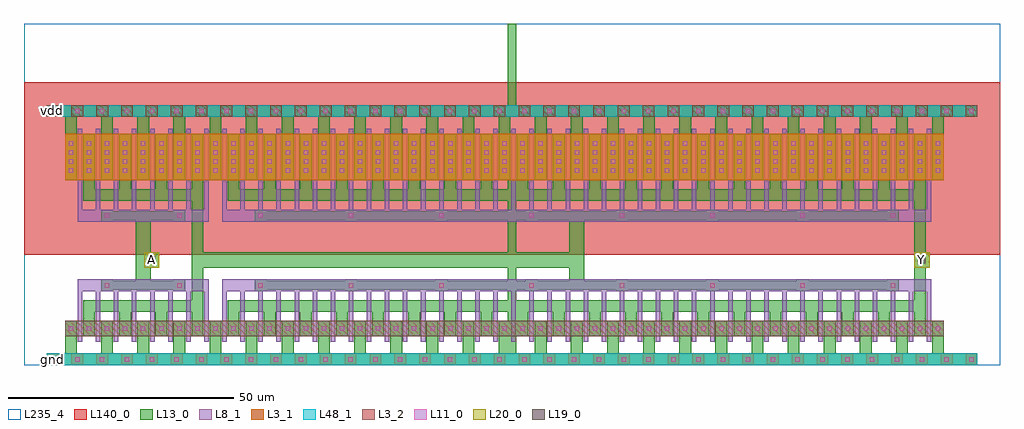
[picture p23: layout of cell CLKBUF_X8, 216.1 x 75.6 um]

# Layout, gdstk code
import gdstk
lib = gdstk.Library(unit=1e-6, precision=1e-09)
def R(c, l, rs):  # rectangles x0, y0, x1, y1
    for r in rs: c.add(gdstk.rectangle(r[:2], r[2:], *l))
def A(c, l, x, y, w, h, nx, ny, dx, dy):  # array of equal rectangles
    R(c, l, [(x+i*dx, y+j*dy, x+i*dx+w, y+j*dy+h) for i in range(nx) for j in range(ny)])
def P(c, l, *ps):  # polygons
    for p in ps: c.add(gdstk.Polygon(p, *l))
L3_1 = (3, 1)
L3_2 = (3, 2)
L8_1 = (8, 1)
L11_0 = (11, 0)
L13_0 = (13, 0)
L19_0 = (19, 0)
L20_0 = (20, 0)
L48_1 = (48, 1)
L140_0 = (140, 0)
L235_4 = (235, 4)

clkbuf_x8 = lib.new_cell('CLKBUF_X8')
A(clkbuf_x8, L3_1, 5, 0, 2.6, 2.6, 38, 1, 5.5, 0)
R(clkbuf_x8, L3_1, [(9.1,41,203.7,51.2)])
A(clkbuf_x8, L3_2, 5, 55, 2.6, 2.6, 38, 1, 5.5, 0)
R(clkbuf_x8, L3_2, [(9.1,6.4,203.7,9.8)])
P(clkbuf_x8, L8_1, [(11.9,5.2),(11.9,19),(40.9,19),(40.9,5.2),(39.9,5.2),(39.9,16.4),(36.9,16.4),(36.9,5.2),(35.9,5.2),(35.9,16.4),(32.9,16.4),(32.9,5.2),(31.9,5.2),(31.9,16.4),(28.9,16.4),(28.9,5.2),(27.9,5.2),(27.9,16.4),(24.9,16.4),(24.9,5.2),(23.9,5.2),(23.9,16.4),(20.9,16.4),(20.9,5.2),(19.9,5.2),(19.9,16.4),(16.9,16.4),(16.9,5.2),(15.9,5.2),(15.9,16.4),(12.9,16.4),(12.9,5.2)],
  [(43.9,5.2),(43.9,19),(200.9,19),(200.9,5.2),(199.9,5.2),(199.9,16.4),(196.9,16.4),(196.9,5.2),(195.9,5.2),(195.9,16.4),(192.9,16.4),(192.9,5.2),(191.9,5.2),(191.9,16.4),(188.9,16.4),(188.9,5.2),(187.9,5.2),(187.9,16.4),(184.9,16.4),(184.9,5.2),(183.9,5.2),(183.9,16.4),(180.9,16.4),(180.9,5.2),(179.9,5.2),(179.9,16.4),(176.9,16.4),(176.9,5.2),(175.9,5.2),(175.9,16.4),(172.9,16.4),(172.9,5.2),(171.9,5.2),(171.9,16.4),(168.9,16.4),(168.9,5.2),(167.9,5.2),(167.9,16.4),(164.9,16.4),(164.9,5.2),(163.9,5.2),(163.9,16.4),(160.9,16.4),(160.9,5.2),(159.9,5.2),(159.9,16.4),(156.9,16.4),(156.9,5.2),(155.9,5.2),(155.9,16.4),(152.9,16.4),(152.9,5.2),(151.9,5.2),(151.9,16.4),(148.9,16.4),(148.9,5.2),(147.9,5.2),(147.9,16.4),(144.9,16.4),(144.9,5.2),(143.9,5.2),(143.9,16.4),(140.9,16.4),(140.9,5.2),(139.9,5.2),(139.9,16.4),(136.9,16.4),(136.9,5.2),(135.9,5.2),(135.9,16.4),(132.9,16.4),(132.9,5.2),(131.9,5.2),(131.9,16.4),(128.9,16.4),(128.9,5.2),(127.9,5.2),(127.9,16.4),(124.9,16.4),(124.9,5.2),(123.9,5.2),(123.9,16.4),(120.9,16.4),(120.9,5.2),(119.9,5.2),(119.9,16.4),(116.9,16.4),(116.9,5.2),(115.9,5.2),(115.9,16.4),(112.9,16.4),(112.9,5.2),(111.9,5.2),(111.9,16.4),(108.9,16.4),(108.9,5.2),(107.9,5.2),(107.9,16.4),(104.9,16.4),(104.9,5.2),(103.9,5.2),(103.9,16.4),(100.9,16.4),(100.9,5.2),(99.9,5.2),(99.9,16.4),(96.9,16.4),(96.9,5.2),(95.9,5.2),(95.9,16.4),(92.9,16.4),(92.9,5.2),(91.9,5.2),(91.9,16.4),(88.9,16.4),(88.9,5.2),(87.9,5.2),(87.9,16.4),(84.9,16.4),(84.9,5.2),(83.9,5.2),(83.9,16.4),(80.9,16.4),(80.9,5.2),(79.9,5.2),(79.9,16.4),(76.9,16.4),(76.9,5.2),(75.9,5.2),(75.9,16.4),(72.9,16.4),(72.9,5.2),(71.9,5.2),(71.9,16.4),(68.9,16.4),(68.9,5.2),(67.9,5.2),(67.9,16.4),(64.9,16.4),(64.9,5.2),(63.9,5.2),(63.9,16.4),(60.9,16.4),(60.9,5.2),(59.9,5.2),(59.9,16.4),(56.9,16.4),(56.9,5.2),(55.9,5.2),(55.9,16.4),(52.9,16.4),(52.9,5.2),(51.9,5.2),(51.9,16.4),(48.9,16.4),(48.9,5.2),(47.9,5.2),(47.9,16.4),(44.9,16.4),(44.9,5.2)],
  [(11.9,31.8),(11.9,52.4),(12.9,52.4),(12.9,34.4),(15.9,34.4),(15.9,52.4),(16.9,52.4),(16.9,34.4),(19.9,34.4),(19.9,52.4),(20.9,52.4),(20.9,34.4),(23.9,34.4),(23.9,52.4),(24.9,52.4),(24.9,34.4),(27.9,34.4),(27.9,52.4),(28.9,52.4),(28.9,34.4),(31.9,34.4),(31.9,52.4),(32.9,52.4),(32.9,34.4),(35.9,34.4),(35.9,52.4),(36.9,52.4),(36.9,34.4),(39.9,34.4),(39.9,52.4),(40.9,52.4),(40.9,31.8)],
  [(43.9,31.8),(43.9,52.4),(44.9,52.4),(44.9,34.4),(47.9,34.4),(47.9,52.4),(48.9,52.4),(48.9,34.4),(51.9,34.4),(51.9,52.4),(52.9,52.4),(52.9,34.4),(55.9,34.4),(55.9,52.4),(56.9,52.4),(56.9,34.4),(59.9,34.4),(59.9,52.4),(60.9,52.4),(60.9,34.4),(63.9,34.4),(63.9,52.4),(64.9,52.4),(64.9,34.4),(67.9,34.4),(67.9,52.4),(68.9,52.4),(68.9,34.4),(71.9,34.4),(71.9,52.4),(72.9,52.4),(72.9,34.4),(75.9,34.4),(75.9,52.4),(76.9,52.4),(76.9,34.4),(79.9,34.4),(79.9,52.4),(80.9,52.4),(80.9,34.4),(83.9,34.4),(83.9,52.4),(84.9,52.4),(84.9,34.4),(87.9,34.4),(87.9,52.4),(88.9,52.4),(88.9,34.4),(91.9,34.4),(91.9,52.4),(92.9,52.4),(92.9,34.4),(95.9,34.4),(95.9,52.4),(96.9,52.4),(96.9,34.4),(99.9,34.4),(99.9,52.4),(100.9,52.4),(100.9,34.4),(103.9,34.4),(103.9,52.4),(104.9,52.4),(104.9,34.4),(107.9,34.4),(107.9,52.4),(108.9,52.4),(108.9,34.4),(111.9,34.4),(111.9,52.4),(112.9,52.4),(112.9,34.4),(115.9,34.4),(115.9,52.4),(116.9,52.4),(116.9,34.4),(119.9,34.4),(119.9,52.4),(120.9,52.4),(120.9,34.4),(123.9,34.4),(123.9,52.4),(124.9,52.4),(124.9,34.4),(127.9,34.4),(127.9,52.4),(128.9,52.4),(128.9,34.4),(131.9,34.4),(131.9,52.4),(132.9,52.4),(132.9,34.4),(135.9,34.4),(135.9,52.4),(136.9,52.4),(136.9,34.4),(139.9,34.4),(139.9,52.4),(140.9,52.4),(140.9,34.4),(143.9,34.4),(143.9,52.4),(144.9,52.4),(144.9,34.4),(147.9,34.4),(147.9,52.4),(148.9,52.4),(148.9,34.4),(151.9,34.4),(151.9,52.4),(152.9,52.4),(152.9,34.4),(155.9,34.4),(155.9,52.4),(156.9,52.4),(156.9,34.4),(159.9,34.4),(159.9,52.4),(160.9,52.4),(160.9,34.4),(163.9,34.4),(163.9,52.4),(164.9,52.4),(164.9,34.4),(167.9,34.4),(167.9,52.4),(168.9,52.4),(168.9,34.4),(171.9,34.4),(171.9,52.4),(172.9,52.4),(172.9,34.4),(175.9,34.4),(175.9,52.4),(176.9,52.4),(176.9,34.4),(179.9,34.4),(179.9,52.4),(180.9,52.4),(180.9,34.4),(183.9,34.4),(183.9,52.4),(184.9,52.4),(184.9,34.4),(187.9,34.4),(187.9,52.4),(188.9,52.4),(188.9,34.4),(191.9,34.4),(191.9,52.4),(192.9,52.4),(192.9,34.4),(195.9,34.4),(195.9,52.4),(196.9,52.4),(196.9,34.4),(199.9,34.4),(199.9,52.4),(200.9,52.4),(200.9,31.8)])
A(clkbuf_x8, L11_0, 5.8, 0.8, 1, 1, 38, 2, 5.5, 55)
A(clkbuf_x8, L11_0, 9.9, 7.6, 1, 1, 9, 2, 4, 35)
A(clkbuf_x8, L11_0, 41.9, 7.6, 1, 1, 41, 2, 4, 35)
A(clkbuf_x8, L11_0, 51.9, 17.2, 1, 1, 8, 2, 20, 15.4)
A(clkbuf_x8, L11_0, 9.9, 44.6, 1, 1, 9, 3, 4, 2)
A(clkbuf_x8, L11_0, 41.9, 44.6, 1, 1, 41, 3, 4, 2)
R(clkbuf_x8, L11_0, [(17.9,17.2,18.9,18.2), (33.9,17.2,34.9,18.2), (17.9,32.6,18.9,33.6), (33.9,32.6,34.9,33.6)])
P(clkbuf_x8, L13_0, [(17.1,16.4),(17.1,19),(19.7,19),(19.7,18.7),(24.7,18.7),(24.7,32.1),(19.7,32.1),(19.7,31.8),(17.1,31.8),(17.1,34.4),(19.7,34.4),(19.7,34.1),(33.1,34.1),(33.1,34.4),(35.7,34.4),(35.7,31.8),(33.1,31.8),(33.1,32.1),(28.1,32.1),(28.1,25),(30,25),(30,21.6),(28.1,21.6),(28.1,18.7),(33.1,18.7),(33.1,19),(35.7,19),(35.7,16.4),(33.1,16.4),(33.1,16.7),(19.7,16.7),(19.7,16.4)],
  [(5,0),(5,2.6),(9.1,2.6),(9.1,9.8),(11.7,9.8),(11.7,2.6),(17.1,2.6),(17.1,9.8),(19.7,9.8),(19.7,2.6),(25.1,2.6),(25.1,9.8),(27.7,9.8),(27.7,2.6),(33.1,2.6),(33.1,9.8),(35.7,9.8),(35.7,2.6),(41.1,2.6),(41.1,9.8),(43.7,9.8),(43.7,2.6),(49.1,2.6),(49.1,9.8),(51.7,9.8),(51.7,2.6),(57.1,2.6),(57.1,9.8),(59.7,9.8),(59.7,2.6),(65.1,2.6),(65.1,9.8),(67.7,9.8),(67.7,2.6),(73.1,2.6),(73.1,9.8),(75.7,9.8),(75.7,2.6),(81.1,2.6),(81.1,9.8),(83.7,9.8),(83.7,2.6),(89.1,2.6),(89.1,9.8),(91.7,9.8),(91.7,2.6),(97.1,2.6),(97.1,9.8),(99.7,9.8),(99.7,2.6),(105.1,2.6),(105.1,9.8),(107.15,9.8),(107.15,11.8),(103.7,11.8),(103.7,6.4),(101.1,6.4),(101.1,11.8),(95.7,11.8),(95.7,6.4),(93.1,6.4),(93.1,11.8),(87.7,11.8),(87.7,6.4),(85.1,6.4),(85.1,11.8),(79.7,11.8),(79.7,6.4),(77.1,6.4),(77.1,11.8),(71.7,11.8),(71.7,6.4),(69.1,6.4),(69.1,11.8),(63.7,11.8),(63.7,6.4),(61.1,6.4),(61.1,11.8),(55.7,11.8),(55.7,6.4),(53.1,6.4),(53.1,11.8),(47.7,11.8),(47.7,6.4),(45.1,6.4),(45.1,14.4),(107.15,14.4),(107.15,16.7),(93.7,16.7),(93.7,16.4),(91.1,16.4),(91.1,16.7),(73.7,16.7),(73.7,16.4),(71.1,16.4),(71.1,16.7),(53.7,16.7),(53.7,16.4),(51.1,16.4),(51.1,19),(53.7,19),(53.7,18.7),(71.1,18.7),(71.1,19),(73.7,19),(73.7,18.7),(91.1,18.7),(91.1,19),(93.7,19),(93.7,18.7),(107.15,18.7),(107.15,21.6),(39.7,21.6),(39.7,6.4),(37.1,6.4),(37.1,11.8),(31.7,11.8),(31.7,6.4),(29.1,6.4),(29.1,11.8),(23.7,11.8),(23.7,6.4),(21.1,6.4),(21.1,11.8),(15.7,11.8),(15.7,6.4),(13.1,6.4),(13.1,14.4),(37.1,14.4),(37.1,21.6),(108.95,21.6),(108.95,18.7),(111.1,18.7),(111.1,19),(113.7,19),(113.7,18.7),(120.7,18.7),(120.7,21.6),(37.1,21.6),(37.1,36.4),(13.1,36.4),(13.1,51.2),(15.7,51.2),(15.7,39),(21.1,39),(21.1,51.2),(23.7,51.2),(23.7,39),(29.1,39),(29.1,51.2),(31.7,51.2),(31.7,39),(37.1,39),(37.1,51.2),(39.7,51.2),(39.7,25),(107.15,25),(107.15,32.1),(93.7,32.1),(93.7,31.8),(91.1,31.8),(91.1,32.1),(73.7,32.1),(73.7,31.8),(71.1,31.8),(71.1,32.1),(53.7,32.1),(53.7,31.8),(51.1,31.8),(51.1,32.1),(113.7,32.1),(113.7,31.8),(111.1,31.8),(111.1,32.1),(108.95,32.1),(108.95,25),(120.7,25),(120.7,32.1),(51.1,32.1),(51.1,34.4),(53.7,34.4),(53.7,34.1),(71.1,34.1),(71.1,34.4),(73.7,34.4),(73.7,34.1),(91.1,34.1),(91.1,34.4),(93.7,34.4),(93.7,34.1),(107.15,34.1),(107.15,36.4),(108.95,36.4),(108.95,34.1),(111.1,34.1),(111.1,34.4),(113.7,34.4),(113.7,34.1),(131.1,34.1),(131.1,34.4),(133.7,34.4),(133.7,34.1),(151.1,34.1),(151.1,34.4),(153.7,34.4),(153.7,34.1),(171.1,34.1),(171.1,34.4),(173.7,34.4),(173.7,34.1),(191.1,34.1),(191.1,34.4),(193.7,34.4),(193.7,31.8),(191.1,31.8),(191.1,32.1),(173.7,32.1),(173.7,31.8),(171.1,31.8),(171.1,32.1),(153.7,32.1),(153.7,31.8),(151.1,31.8),(151.1,32.1),(133.7,32.1),(133.7,31.8),(131.1,31.8),(131.1,32.1),(124.1,32.1),(124.1,18.7),(131.1,18.7),(131.1,19),(133.7,19),(133.7,18.7),(151.1,18.7),(151.1,19),(153.7,19),(153.7,18.7),(171.1,18.7),(171.1,19),(173.7,19),(173.7,18.7),(191.1,18.7),(191.1,19),(193.7,19),(193.7,16.4),(191.1,16.4),(191.1,16.7),(173.7,16.7),(173.7,16.4),(171.1,16.4),(171.1,16.7),(153.7,16.7),(153.7,16.4),(151.1,16.4),(151.1,16.7),(133.7,16.7),(133.7,16.4),(131.1,16.4),(131.1,16.7),(113.7,16.7),(113.7,16.4),(111.1,16.4),(111.1,16.7),(108.95,16.7),(108.95,14.4),(197.1,14.4),(197.1,36.4),(45.1,36.4),(45.1,51.2),(47.7,51.2),(47.7,39),(53.1,39),(53.1,51.2),(55.7,51.2),(55.7,39),(61.1,39),(61.1,51.2),(63.7,51.2),(63.7,39),(69.1,39),(69.1,51.2),(71.7,51.2),(71.7,39),(77.1,39),(77.1,51.2),(79.7,51.2),(79.7,39),(85.1,39),(85.1,51.2),(87.7,51.2),(87.7,39),(93.1,39),(93.1,51.2),(95.7,51.2),(95.7,39),(101.1,39),(101.1,51.2),(103.7,51.2),(103.7,39),(107.15,39),(107.15,41),(105.1,41),(105.1,55),(99.7,55),(99.7,41),(97.1,41),(97.1,55),(91.7,55),(91.7,41),(89.1,41),(89.1,55),(83.7,55),(83.7,41),(81.1,41),(81.1,55),(75.7,55),(75.7,41),(73.1,41),(73.1,55),(67.7,55),(67.7,41),(65.1,41),(65.1,55),(59.7,55),(59.7,41),(57.1,41),(57.1,55),(51.7,55),(51.7,41),(49.1,41),(49.1,55),(43.7,55),(43.7,41),(41.1,41),(41.1,55),(35.7,55),(35.7,41),(33.1,41),(33.1,55),(27.7,55),(27.7,41),(25.1,41),(25.1,55),(19.7,55),(19.7,41),(17.1,41),(17.1,55),(11.7,55),(11.7,41),(9.1,41),(9.1,55),(5,55),(5,57.6),(107.15,57.6),(107.15,75.6),(108.95,75.6),(108.95,57.6),(211.1,57.6),(211.1,55),(203.7,55),(203.7,41),(201.1,41),(201.1,55),(195.7,55),(195.7,41),(193.1,41),(193.1,55),(187.7,55),(187.7,41),(185.1,41),(185.1,55),(179.7,55),(179.7,41),(177.1,41),(177.1,55),(171.7,55),(171.7,41),(169.1,41),(169.1,55),(163.7,55),(163.7,41),(161.1,41),(161.1,55),(155.7,55),(155.7,41),(153.1,41),(153.1,55),(147.7,55),(147.7,41),(145.1,41),(145.1,55),(139.7,55),(139.7,41),(137.1,41),(137.1,55),(131.7,55),(131.7,41),(129.1,41),(129.1,55),(123.7,55),(123.7,41),(121.1,41),(121.1,55),(115.7,55),(115.7,41),(113.1,41),(113.1,55),(107.7,55),(107.7,41),(108.95,41),(108.95,39),(109.1,39),(109.1,51.2),(111.7,51.2),(111.7,39),(117.1,39),(117.1,51.2),(119.7,51.2),(119.7,39),(125.1,39),(125.1,51.2),(127.7,51.2),(127.7,39),(133.1,39),(133.1,51.2),(135.7,51.2),(135.7,39),(141.1,39),(141.1,51.2),(143.7,51.2),(143.7,39),(149.1,39),(149.1,51.2),(151.7,51.2),(151.7,39),(157.1,39),(157.1,51.2),(159.7,51.2),(159.7,39),(165.1,39),(165.1,51.2),(167.7,51.2),(167.7,39),(173.1,39),(173.1,51.2),(175.7,51.2),(175.7,39),(181.1,39),(181.1,51.2),(183.7,51.2),(183.7,39),(189.1,39),(189.1,51.2),(191.7,51.2),(191.7,39),(197.1,39),(197.1,51.2),(199.7,51.2),(199.7,25),(200.5,25),(200.5,21.6),(199.7,21.6),(199.7,6.4),(197.1,6.4),(197.1,11.8),(191.7,11.8),(191.7,6.4),(189.1,6.4),(189.1,11.8),(183.7,11.8),(183.7,6.4),(181.1,6.4),(181.1,11.8),(175.7,11.8),(175.7,6.4),(173.1,6.4),(173.1,11.8),(167.7,11.8),(167.7,6.4),(165.1,6.4),(165.1,11.8),(159.7,11.8),(159.7,6.4),(157.1,6.4),(157.1,11.8),(151.7,11.8),(151.7,6.4),(149.1,6.4),(149.1,11.8),(143.7,11.8),(143.7,6.4),(141.1,6.4),(141.1,11.8),(135.7,11.8),(135.7,6.4),(133.1,6.4),(133.1,11.8),(127.7,11.8),(127.7,6.4),(125.1,6.4),(125.1,11.8),(119.7,11.8),(119.7,6.4),(117.1,6.4),(117.1,11.8),(111.7,11.8),(111.7,6.4),(109.1,6.4),(109.1,11.8),(108.95,11.8),(108.95,2.6),(113.1,2.6),(113.1,9.8),(115.7,9.8),(115.7,2.6),(121.1,2.6),(121.1,9.8),(123.7,9.8),(123.7,2.6),(129.1,2.6),(129.1,9.8),(131.7,9.8),(131.7,2.6),(137.1,2.6),(137.1,9.8),(139.7,9.8),(139.7,2.6),(145.1,2.6),(145.1,9.8),(147.7,9.8),(147.7,2.6),(153.1,2.6),(153.1,9.8),(155.7,9.8),(155.7,2.6),(161.1,2.6),(161.1,9.8),(163.7,9.8),(163.7,2.6),(169.1,2.6),(169.1,9.8),(171.7,9.8),(171.7,2.6),(177.1,2.6),(177.1,9.8),(179.7,9.8),(179.7,2.6),(185.1,2.6),(185.1,9.8),(187.7,9.8),(187.7,2.6),(193.1,2.6),(193.1,9.8),(195.7,9.8),(195.7,2.6),(201.1,2.6),(201.1,9.8),(203.7,9.8),(203.7,2.6),(211.1,2.6),(211.1,0)])
R(clkbuf_x8, L19_0, [(27.6,22.6,29,24), (198.1,22.6,199.5,24)])
R(clkbuf_x8, L20_0, [(26.6,21.6,30,25), (197.1,21.6,200.5,25)])
R(clkbuf_x8, L48_1, [(5,0,211.1,2.6), (27.4,22.4,29.2,24.2), (27.4,22.4,29.2,24.2), (197.9,22.4,199.7,24.2), (5,55,211.1,57.6)])
R(clkbuf_x8, L140_0, [(0,24.5,216.1,62.6)])
R(clkbuf_x8, L235_4, [(0,0,216.1,75.6)])
clkbuf_x8.add(gdstk.Label('A', (28.3,23.3), layer=48, texttype=0))
clkbuf_x8.add(gdstk.Label('Y', (198.8,23.3), layer=48, texttype=0))
clkbuf_x8.add(gdstk.Label('vdd', (6.3,56.3), layer=48, texttype=0))
clkbuf_x8.add(gdstk.Label('gnd', (6.3,1.3), layer=48, texttype=0))
clkbuf_x8.add(gdstk.Label('A', (28.3,23.3), layer=49, texttype=0))
clkbuf_x8.add(gdstk.Label('Y', (198.8,23.3), layer=49, texttype=0))

lib.write_gds('CLKBUF_X8.gds')
